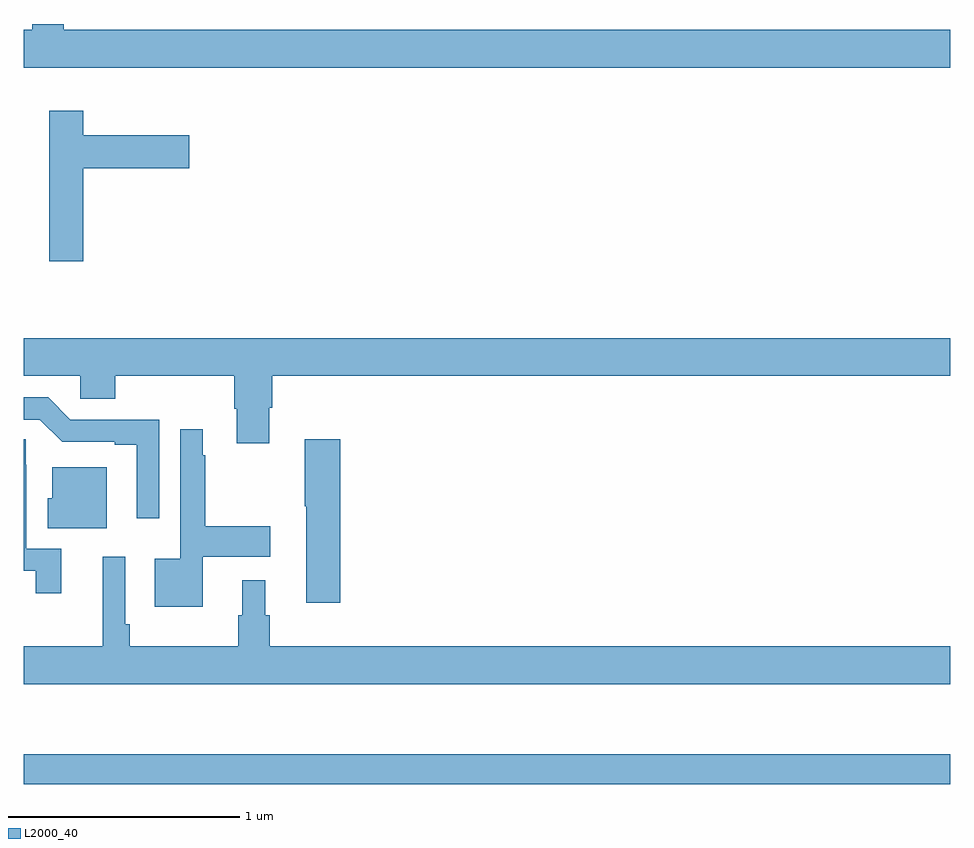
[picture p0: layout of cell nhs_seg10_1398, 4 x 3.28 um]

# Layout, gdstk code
import gdstk
lib = gdstk.Library(unit=1e-6, precision=1e-09)
def R(c, l, rs):  # rectangles x0, y0, x1, y1
    for r in rs: c.add(gdstk.rectangle(r[:2], r[2:], *l))
def P(c, l, *ps):  # polygons
    for p in ps: c.add(gdstk.Polygon(p, *l))
L2000_40 = (2000, 40)

nhs_seg10_1398 = lib.new_cell('nhs_seg10_1398')
R(nhs_seg10_1398, L2000_40, [(183,1301.218,187,1301.347)])
P(nhs_seg10_1398, L2000_40, [(187,1304.476),(183.173,1304.476),(183.173,1304.5),(183.037,1304.5),(183.037,1304.476),(183,1304.476),(183,1304.312),(187,1304.312)],
  [(183.257,1303.877),(183.715,1303.877),(183.715,1304.019),(183.257,1304.019),(183.257,1304.125),(183.11,1304.125),(183.11,1303.476),(183.257,1303.476)],
  [(184.06,1302.843),(184.073,1302.843),(184.073,1302.98),(187,1302.98),(187,1303.144),(183,1303.144),(183,1302.98),(183.243,1302.98),(183.243,1302.882),(183.395,1302.882),(183.395,1302.98),(183.908,1302.98),(183.908,1302.838),(183.92,1302.838),(183.92,1302.69),(184.06,1302.69)],
  [(183.585,1302.792),(183.201,1302.792),(183.105,1302.888),(183,1302.888),(183,1302.792),(183.069,1302.792),(183.165,1302.696),(183.392,1302.696),(183.392,1302.684),(183.488,1302.684),(183.488,1302.366),(183.585,1302.366)],
  [(183.772,1302.2),(184.063,1302.2),(184.063,1302.33),(183.784,1302.33),(183.784,1302.638),(183.772,1302.638),(183.772,1302.751),(183.675,1302.751),(183.675,1302.19),(183.566,1302.19),(183.566,1301.984),(183.772,1301.984)],
  [(183.161,1302.234),(183.01,1302.234),(183.01,1302.596),(183.009,1302.596),(183.009,1302.707),(183,1302.707),(183,1302.138),(183.052,1302.138),(183.052,1302.042),(183.161,1302.042)],
  [(184.367,1302.706),(184.213,1302.706),(184.213,1302.418),(184.22,1302.418),(184.22,1302),(184.367,1302)],
  [(183.358,1302.586),(183.122,1302.586),(183.122,1302.453),(183.104,1302.453),(183.104,1302.323),(183.358,1302.323)],
  [(187,1301.812),(184.061,1301.812),(184.061,1301.946),(184.042,1301.946),(184.042,1302.097),(183.944,1302.097),(183.944,1301.946),(183.925,1301.946),(183.925,1301.812),(183.458,1301.812),(183.458,1301.908),(183.438,1301.908),(183.438,1302.199),(183.341,1302.199),(183.341,1301.812),(183,1301.812),(183,1301.648),(187,1301.648)])

lib.write_gds('nhs_seg10_1398.gds')
